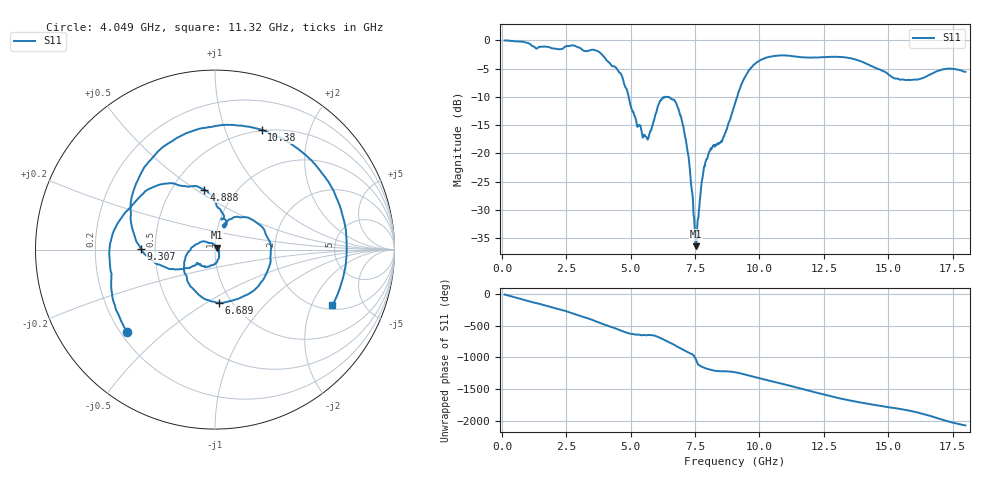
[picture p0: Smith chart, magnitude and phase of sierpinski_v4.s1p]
!Keysight Technologies,N5222B,MY60213399,A.14.00.23
!Date: Monday, June 05, 2023 20:30:26
!Correction: S11(C  1-Port  )
!S1P File: Measurement: :
# Hz S  dB  R 50
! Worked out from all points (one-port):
!   1601 points, 100 MHz to 18 GHz, reference 50 ohm
!   lowest |S11| = -36.4 dB at 7.529 GHz (marker M1), VSWR 1.03, Z = 51 + j1.13 ohm
!   |S11| at or under -10 dB: 4.921 GHz to 6.327 GHz (1.406 GHz wide, 25 % of centre); 6.356 GHz to 6.417 GHz (60.57 MHz wide, 0.948 % of centre); 6.435 GHz to 9.133 GHz (2.698 GHz wide, 34.7 % of centre)
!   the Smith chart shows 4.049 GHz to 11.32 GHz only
!   S11 on the Smith chart (normalised r, x): 4.049 GHz: 0.22, -0.38; 4.888 GHz: 0.71, +0.54; 6.689 GHz: 0.87, -0.57; 9.307 GHz: 0.42, +0.00; 10.38 GHz: 0.49, +1.34; 11.32 GHz: 2.23, -2.88
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1e8  -0.01 -11.2
8.943125e8  -0.34 -100.2
1.643875e9  -1.09 -179.7
2.3375e9  -1.51 104.2
2.684312e9  -0.90 59.8
3.09825e9  -1.57 1.7
3.63525e9  -1.76 -72.0
4.049188e9  -3.43 -136.8
4.575e9  -5.75 147.5
4.88825e9  -9.37 100.4
5.615438e9  -17.19 66.3
6.689438e9  -10.54 -86.0
6.8125e9  -11.77 -114.1
7.5285e9  -36.43 47.5
7.93125e9  -21.12 -99.2
9.05e9  -11.10 -157.5
9.307312e9  -7.71 179.7
1.038131e10  -2.90 68.8
1.12875e10  -2.78 -21.6
1.132106e10  -2.82 -25.1
1.194756e10  -3.04 -91.9
1.259644e10  -2.93 -160.1
1.3525e10  -3.14 115.4
1.463256e10  -5.11 36.1
1.57625e10  -7.00 -39.2
1.648969e10  -6.36 -109.8
1.702669e10  -5.27 -177.4
1.8e10  -5.56 82.1
